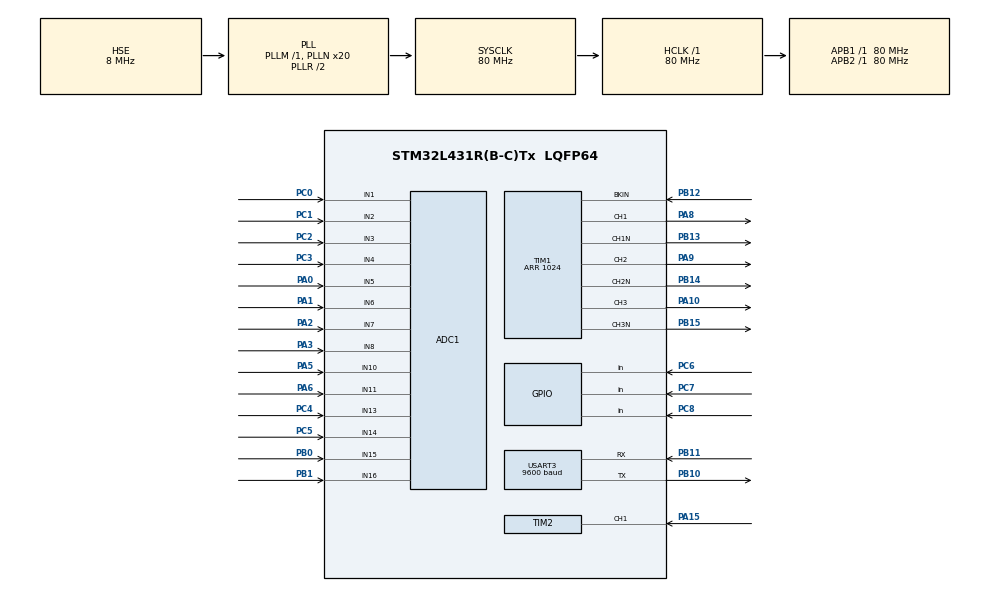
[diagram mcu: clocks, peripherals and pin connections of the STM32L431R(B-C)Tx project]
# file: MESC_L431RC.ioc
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ADC1.AWD1HighThreshold=4048
ADC1.AWD1ITMode=ENABLE
ADC1.AWD1LowThreshold=48
ADC1.Channel-0\#ChannelRegularConversion=ADC_CHANNEL_5
ADC1.Channel-10\#ChannelRegularConversion=ADC_CHANNEL_13
ADC1.Channel-11\#ChannelRegularConversion=ADC_CHANNEL_14
ADC1.Channel-12\#ChannelRegularConversion=ADC_CHANNEL_15
ADC1.Channel-13\#ChannelRegularConversion=ADC_CHANNEL_16
ADC1.Channel-5\#ChannelRegularConversion=ADC_CHANNEL_6
ADC1.Channel-6\#ChannelRegularConversion=ADC_CHANNEL_7
ADC1.Channel-7\#ChannelRegularConversion=ADC_CHANNEL_8
ADC1.Channel-8\#ChannelRegularConversion=ADC_CHANNEL_10
ADC1.Channel-9\#ChannelRegularConversion=ADC_CHANNEL_11
ADC1.DMAContinuousRequests=ENABLE
ADC1.EnableAnalogWatchDog1=true
ADC1.EnableAnalogWatchDog2=false
ADC1.EnableAnalogWatchDog3=false
ADC1.EnableInjectedConversion=ENABLE
ADC1.ExternalTrigConv=ADC_EXTERNALTRIG_T1_TRGO
ADC1.ExternalTrigConvEdge=ADC_EXTERNALTRIGCONVEDGE_RISING
ADC1.ExternalTrigInjecConv=ADC_EXTERNALTRIGINJEC_T1_TRGO
ADC1.ExternalTrigInjecConvEdge=ADC_EXTERNALTRIGINJECCONV_EDGE_RISING
ADC1.InjMonitoredBy-1\#ChannelInjectedConversion=__NULL
ADC1.InjMonitoredBy-2\#ChannelInjectedConversion=__NULL
ADC1.InjMonitoredBy-3\#ChannelInjectedConversion=__NULL
ADC1.InjMonitoredBy-4\#ChannelInjectedConversion=__NULL
ADC1.InjNumberOfConversion=4
ADC1.InjectedChannel-1\#ChannelInjectedConversion=ADC_CHANNEL_1
ADC1.InjectedChannel-2\#ChannelInjectedConversion=ADC_CHANNEL_2
ADC1.InjectedChannel-3\#ChannelInjectedConversion=ADC_CHANNEL_3
ADC1.InjectedChannel-4\#ChannelInjectedConversion=ADC_CHANNEL_4
ADC1.InjectedOffsetNumber-1\#ChannelInjectedConversion=ADC_OFFSET_NONE
ADC1.InjectedOffsetNumber-2\#ChannelInjectedConversion=ADC_OFFSET_NONE
ADC1.InjectedOffsetNumber-3\#ChannelInjectedConversion=ADC_OFFSET_NONE
ADC1.InjectedOffsetNumber-4\#ChannelInjectedConversion=ADC_OFFSET_NONE
ADC1.InjectedRank-1\#ChannelInjectedConversion=1
ADC1.InjectedRank-2\#ChannelInjectedConversion=2
ADC1.InjectedRank-3\#ChannelInjectedConversion=3
ADC1.InjectedRank-4\#ChannelInjectedConversion=4
ADC1.InjectedSamplingTime-1\#ChannelInjectedConversion=ADC_SAMPLETIME_6CYCLES_5
ADC1.InjectedSamplingTime-2\#ChannelInjectedConversion=ADC_SAMPLETIME_6CYCLES_5
ADC1.InjectedSamplingTime-3\#ChannelInjectedConversion=ADC_SAMPLETIME_6CYCLES_5
ADC1.InjectedSamplingTime-4\#ChannelInjectedConversion=ADC_SAMPLETIME_6CYCLES_5
ADC1.NbrOfConversion=10
ADC1.NbrOfConversionFlag=1
ADC1.OffsetNumber-0\#ChannelRegularConversion=ADC_OFFSET_NONE
ADC1.OffsetNumber-10\#ChannelRegularConversion=ADC_OFFSET_NONE
ADC1.OffsetNumber-11\#ChannelRegularConversion=ADC_OFFSET_NONE
ADC1.OffsetNumber-12\#ChannelRegularConversion=ADC_OFFSET_NONE
ADC1.OffsetNumber-13\#ChannelRegularConversion=ADC_OFFSET_NONE
ADC1.OffsetNumber-5\#ChannelRegularConversion=ADC_OFFSET_NONE
ADC1.OffsetNumber-6\#ChannelRegularConversion=ADC_OFFSET_NONE
ADC1.OffsetNumber-7\#ChannelRegularConversion=ADC_OFFSET_NONE
ADC1.OffsetNumber-8\#ChannelRegularConversion=ADC_OFFSET_NONE
ADC1.OffsetNumber-9\#ChannelRegularConversion=ADC_OFFSET_NONE
ADC1.Rank-0\#ChannelRegularConversion=1
ADC1.Rank-10\#ChannelRegularConversion=7
ADC1.Rank-11\#ChannelRegularConversion=8
ADC1.Rank-12\#ChannelRegularConversion=9
ADC1.Rank-13\#ChannelRegularConversion=10
ADC1.Rank-5\#ChannelRegularConversion=2
ADC1.Rank-6\#ChannelRegularConversion=3
ADC1.Rank-7\#ChannelRegularConversion=4
ADC1.Rank-8\#ChannelRegularConversion=5
ADC1.Rank-9\#ChannelRegularConversion=6
ADC1.SamplingTime-0\#ChannelRegularConversion=ADC_SAMPLETIME_6CYCLES_5
ADC1.SamplingTime-10\#ChannelRegularConversion=ADC_SAMPLETIME_6CYCLES_5
ADC1.SamplingTime-11\#ChannelRegularConversion=ADC_SAMPLETIME_6CYCLES_5
ADC1.SamplingTime-12\#ChannelRegularConversion=ADC_SAMPLETIME_6CYCLES_5
ADC1.SamplingTime-13\#ChannelRegularConversion=ADC_SAMPLETIME_6CYCLES_5
ADC1.SamplingTime-5\#ChannelRegularConversion=ADC_SAMPLETIME_6CYCLES_5
ADC1.SamplingTime-6\#ChannelRegularConversion=ADC_SAMPLETIME_6CYCLES_5
ADC1.SamplingTime-7\#ChannelRegularConversion=ADC_SAMPLETIME_6CYCLES_5
ADC1.SamplingTime-8\#ChannelRegularConversion=ADC_SAMPLETIME_6CYCLES_5
ADC1.SamplingTime-9\#ChannelRegularConversion=ADC_SAMPLETIME_6CYCLES_5
ADC1.WatchdogMode=ADC_ANALOGWATCHDOG_ALL_INJEC
ADC1.master=1
Dma.ADC1.0.Direction=DMA_PERIPH_TO_MEMORY
Dma.ADC1.0.Instance=DMA1_Channel1
Dma.ADC1.0.MemDataAlignment=DMA_MDATAALIGN_WORD
Dma.ADC1.0.MemInc=DMA_MINC_ENABLE
Dma.ADC1.0.Mode=DMA_CIRCULAR
Dma.ADC1.0.PeriphDataAlignment=DMA_PDATAALIGN_WORD
Dma.ADC1.0.PeriphInc=DMA_PINC_DISABLE
Dma.ADC1.0.Priority=DMA_PRIORITY_LOW
Dma.Request0=ADC1
Dma.Request1=USART3_TX
Dma.USART3_TX.1.Direction=DMA_MEMORY_TO_PERIPH
Dma.USART3_TX.1.Instance=DMA1_Channel2
Dma.USART3_TX.1.MemDataAlignment=DMA_MDATAALIGN_BYTE
Dma.USART3_TX.1.MemInc=DMA_MINC_ENABLE
Dma.USART3_TX.1.Mode=DMA_NORMAL
Dma.USART3_TX.1.PeriphDataAlignment=DMA_PDATAALIGN_BYTE
Dma.USART3_TX.1.PeriphInc=DMA_PINC_DISABLE
Dma.USART3_TX.1.Priority=DMA_PRIORITY_LOW
Mcu.Family=STM32L4
Mcu.Name=STM32L431R(B-C)Tx
Mcu.Package=LQFP64
NVIC.ADC1_IRQn=true\:2\:0\:true\:false\:true\:true\:false\:true
NVIC.DMA1_Channel2_IRQn=true\:4\:0\:true\:false\:true\:true\:true\:true
NVIC.PriorityGroup=NVIC_PRIORITYGROUP_4
NVIC.TIM1_UP_TIM16_IRQn=true\:1\:0\:true\:false\:true\:true\:false\:true
NVIC.TIM2_IRQn=true\:3\:0\:true\:false\:true\:true\:false\:true
NVIC.USART3_IRQn=true\:4\:0\:true\:false\:true\:true\:true\:true
PA0.Signal=ADCx_IN5
PA1.Signal=ADCx_IN6
PA10.Signal=S_TIM1_CH3
PA15\ (JTDI).Signal=S_TIM2_CH1
PA2.Signal=ADCx_IN7
PA3.Signal=ADCx_IN8
PA5.Signal=ADCx_IN10
PA6.Signal=ADCx_IN11
PA8.Signal=S_TIM1_CH1
PA9.Signal=S_TIM1_CH2
PB0.Signal=ADCx_IN15
PB1.Signal=ADCx_IN16
PB10.Mode=Asynchronous
PB10.Signal=USART3_TX
PB11.Mode=Asynchronous
PB11.Signal=USART3_RX
PB12.GPIO_PuPd=GPIO_PULLUP
PB12.Mode=Activate-Break-Input
PB12.Signal=TIM1_BKIN
PB13.Mode=PWM Generation1 CH1 CH1N
PB13.Signal=TIM1_CH1N
PB14.Mode=PWM Generation2 CH2 CH2N
PB14.Signal=TIM1_CH2N
PB15.Mode=PWM Generation3 CH3 CH3N
PB15.Signal=TIM1_CH3N
PC0.Signal=ADCx_IN1
PC1.Signal=ADCx_IN2
PC2.Signal=ADCx_IN3
PC3.Signal=ADCx_IN4
PC4.Signal=ADCx_IN13
PC5.Signal=ADCx_IN14
PC6.GPIO_PuPd=GPIO_PULLUP
PC6.Signal=GPIO_Input
PC7.GPIO_PuPd=GPIO_PULLUP
PC7.Signal=GPIO_Input
PC8.GPIO_PuPd=GPIO_PULLUP
PC8.Signal=GPIO_Input
PH0-OSC_IN\ (PH0).Mode=HSE-External-Oscillator
PH0-OSC_IN\ (PH0).Signal=RCC_OSC_IN
PH1-OSC_OUT\ (PH1).Mode=HSE-External-Oscillator
PH1-OSC_OUT\ (PH1).Signal=RCC_OSC_OUT
ProjectManager.HeapSize=0x200
ProjectManager.StackSize=0x400
ProjectManager.TargetToolchain=STM32CubeIDE
RCC.ADCFreq_Value=64000000
RCC.AHBFreq_Value=80000000
RCC.APB1Freq_Value=80000000
RCC.APB1TimFreq_Value=80000000
RCC.APB2Freq_Value=80000000
RCC.APB2TimFreq_Value=80000000
RCC.CortexFreq_Value=80000000
RCC.HCLKFreq_Value=80000000
RCC.HSE_VALUE=8000000
RCC.HSI48_VALUE=48000000
RCC.HSI_VALUE=16000000
RCC.LSE_VALUE=32768
RCC.MSI_VALUE=4000000
RCC.PLLN=20
RCC.PLLSAI1N=16
RCC.PLLSourceVirtual=RCC_PLLSOURCE_HSE
RCC.SYSCLKFreq_VALUE=80000000
RCC.SYSCLKSource=RCC_SYSCLKSOURCE_PLLCLK
RCC.VCOOutputFreq_Value=160000000
SH.ADCx_IN1.0=ADC1_IN1,IN1-Single-Ended
SH.ADCx_IN10.0=ADC1_IN10,IN10-Single-Ended
SH.ADCx_IN11.0=ADC1_IN11,IN11-Single-Ended
SH.ADCx_IN13.0=ADC1_IN13,IN13-Single-Ended
SH.ADCx_IN14.0=ADC1_IN14,IN14-Single-Ended
SH.ADCx_IN15.0=ADC1_IN15,IN15-Single-Ended
SH.ADCx_IN16.0=ADC1_IN16,IN16-Single-Ended
SH.ADCx_IN2.0=ADC1_IN2,IN2-Single-Ended
SH.ADCx_IN3.0=ADC1_IN3,IN3-Single-Ended
SH.ADCx_IN4.0=ADC1_IN4,IN4-Single-Ended
SH.ADCx_IN5.0=ADC1_IN5,IN5-Single-Ended
SH.ADCx_IN6.0=ADC1_IN6,IN6-Single-Ended
SH.ADCx_IN7.0=ADC1_IN7,IN7-Single-Ended
SH.ADCx_IN8.0=ADC1_IN8,IN8-Single-Ended
SH.S_TIM1_CH1.0=TIM1_CH1,PWM Generation1 CH1 CH1N
SH.S_TIM1_CH2.0=TIM1_CH2,PWM Generation2 CH2 CH2N
SH.S_TIM1_CH3.0=TIM1_CH3,PWM Generation3 CH3 CH3N
SH.S_TIM2_CH1.0=TIM2_CH1,Input_Capture1_from_TI1
SH.S_TIM2_CH1.1=TIM2_CH1,TriggerSource_TI1FP1
TIM1.BreakPolarity=TIM_BREAKPOLARITY_LOW
TIM1.Channel-PWM\ Generation1\ CH1\ CH1N=TIM_CHANNEL_1
TIM1.Channel-PWM\ Generation2\ CH2\ CH2N=TIM_CHANNEL_2
TIM1.Channel-PWM\ Generation3\ CH3\ CH3N=TIM_CHANNEL_3
TIM1.Channel-PWM\ Generation4\ No\ Output=TIM_CHANNEL_4
TIM1.CounterMode=TIM_COUNTERMODE_CENTERALIGNED1
TIM1.DeadTime=50
TIM1.Period=1024
TIM1.Pulse-PWM\ Generation1\ CH1\ CH1N=512
TIM1.Pulse-PWM\ Generation2\ CH2\ CH2N=512
TIM1.Pulse-PWM\ Generation3\ CH3\ CH3N=512
TIM1.Pulse-PWM\ Generation4\ No\ Output=512
TIM1.TIM_MasterOutputTrigger=TIM_TRGO_OC4REF
TIM2.Channel-Input_Capture1_from_TI1=TIM_CHANNEL_1
TIM2.Channel-Input_Capture2_from_TI1_63=TIM_CHANNEL_2
TIM2.ICPolarity_CH2=TIM_INPUTCHANNELPOLARITY_FALLING
TIM2.Period=50000
TIM2.Prescaler=79
USART3.BaudRate=9600
USART3.VirtualMode-Asynchronous=VM_ASYNC
VP_TIM1_VS_no_output4.Mode=PWM Generation4 No Output
VP_TIM2_VS_ControllerModeReset.Mode=Reset Mode
VP_TIM2_VS_indirect_ch1.Mode=Input_Capture2_from_TI1_63
VP_TIM7_VS_ClockSourceINT.Mode=Enable_Timer
board=custom

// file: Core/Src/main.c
/* USER CODE BEGIN Header */
/**
  ******************************************************************************
  * @file           : main.c
  * @brief          : Main program body
  ******************************************************************************
  * @attention
  *
  * Copyright (c) 2022 STMicroelectronics.
  * All rights reserved.
  *
  * This software is licensed under terms that can be found in the LICENSE file
  * in the root directory of this software component.
  * If no LICENSE file comes with this software, it is provided AS-IS.
  *
  ******************************************************************************
  */
/* USER CODE END Header */
#include "main.h"

/* USER CODE BEGIN Includes */
#include "MESCbat.h"
#include "MESCflash.h"
#include "MESCprofile.h"
#include "MESCmotor.h"
#include "MESCspeed.h"
#include "MESCtemp.h"
#include "MESCuart.h"
#include "MESCui.h"

#include "MESCmotor_state.h"
#include "MESC_Comms.h"
#include "MPU6050.h"
#include "Simple_coms.h"
/* USER CODE END Includes */

ADC_HandleTypeDef hadc1;
DMA_HandleTypeDef hdma_adc1;

TIM_HandleTypeDef htim1;
TIM_HandleTypeDef htim2;
TIM_HandleTypeDef htim7;

UART_HandleTypeDef huart3;
DMA_HandleTypeDef hdma_usart3_tx;

/* USER CODE BEGIN PV */
COMS_data_t com1;
/* USER CODE END PV */

void SystemClock_Config(void);
static void MX_GPIO_Init(void);
static void MX_DMA_Init(void);
static void MX_ADC1_Init(void);
static void MX_TIM1_Init(void);
static void MX_USART3_UART_Init(void);
static void MX_TIM2_Init(void);
static void MX_TIM7_Init(void);

int main(void)
{

  /* MCU Configuration--------------------------------------------------------*/

  /* Reset of all peripherals, Initializes the Flash interface and the Systick. */
  HAL_Init();

  /* Configure the system clock */
  SystemClock_Config();

  /* Initialize all configured peripherals */
  MX_GPIO_Init();
  MX_DMA_Init();
  MX_ADC1_Init();
  MX_TIM1_Init();
  MX_USART3_UART_Init();
  MX_TIM2_Init();
  MX_TIM7_Init();
  /* USER CODE BEGIN 2 */

  HAL_UART_Init(&huart3);
  SimpleComsInit(&huart3, &com1);
  HAL_TIM_Base_Start(&htim7);
  //Set motor timer
  mtr[0].mtimer = &htim1;
  mtr[0].stimer = &htim2;
  motor_init(NULL);
  MESCInit(&mtr[0]);

  /* USER CODE END 2 */

  /* Infinite loop */
  /* USER CODE BEGIN WHILE */
  while (1)
  {
	  SimpleComsProcess(&com1);

    /* USER CODE END WHILE */

  }
}

void SystemClock_Config(void)
{
  RCC_OscInitTypeDef RCC_OscInitStruct = {0};
  RCC_ClkInitTypeDef RCC_ClkInitStruct = {0};

  /** Configure the main internal regulator output voltage
  */
  if (HAL_PWREx_ControlVoltageScaling(PWR_REGULATOR_VOLTAGE_SCALE1) != HAL_OK)
  {
    Error_Handler();
  }

  /** Initializes the RCC Oscillators according to the specified parameters
  * in the RCC_OscInitTypeDef structure.
  */
  RCC_OscInitStruct.OscillatorType = RCC_OSCILLATORTYPE_HSE;
  RCC_OscInitStruct.HSEState = RCC_HSE_ON;
  RCC_OscInitStruct.PLL.PLLState = RCC_PLL_ON;
  RCC_OscInitStruct.PLL.PLLSource = RCC_PLLSOURCE_HSE;
  RCC_OscInitStruct.PLL.PLLM = 1;
  RCC_OscInitStruct.PLL.PLLN = 20;
  RCC_OscInitStruct.PLL.PLLP = RCC_PLLP_DIV7;
  RCC_OscInitStruct.PLL.PLLQ = RCC_PLLQ_DIV2;
  RCC_OscInitStruct.PLL.PLLR = RCC_PLLR_DIV2;
  if (HAL_RCC_OscConfig(&RCC_OscInitStruct) != HAL_OK)
  {
    Error_Handler();
  }

  /** Initializes the CPU, AHB and APB buses clocks
  */
  RCC_ClkInitStruct.ClockType = RCC_CLOCKTYPE_HCLK|RCC_CLOCKTYPE_SYSCLK
                              |RCC_CLOCKTYPE_PCLK1|RCC_CLOCKTYPE_PCLK2;
  RCC_ClkInitStruct.SYSCLKSource = RCC_SYSCLKSOURCE_PLLCLK;
  RCC_ClkInitStruct.AHBCLKDivider = RCC_SYSCLK_DIV1;
  RCC_ClkInitStruct.APB1CLKDivider = RCC_HCLK_DIV1;
  RCC_ClkInitStruct.APB2CLKDivider = RCC_HCLK_DIV1;

  if (HAL_RCC_ClockConfig(&RCC_ClkInitStruct, FLASH_LATENCY_4) != HAL_OK)
  {
    Error_Handler();
  }
}

static void MX_ADC1_Init(void)
{

  ADC_AnalogWDGConfTypeDef AnalogWDGConfig = {0};
  ADC_ChannelConfTypeDef sConfig = {0};
  ADC_InjectionConfTypeDef sConfigInjected = {0};

  /** Common config
  */
  hadc1.Instance = ADC1;
  hadc1.Init.ClockPrescaler = ADC_CLOCK_ASYNC_DIV1;
  hadc1.Init.Resolution = ADC_RESOLUTION_12B;
  hadc1.Init.DataAlign = ADC_DATAALIGN_RIGHT;
  hadc1.Init.ScanConvMode = ADC_SCAN_ENABLE;
  hadc1.Init.EOCSelection = ADC_EOC_SINGLE_CONV;
  hadc1.Init.LowPowerAutoWait = DISABLE;
  hadc1.Init.ContinuousConvMode = DISABLE;
  hadc1.Init.NbrOfConversion = 10;
  hadc1.Init.DiscontinuousConvMode = DISABLE;
  hadc1.Init.ExternalTrigConv = ADC_EXTERNALTRIG_T1_TRGO;
  hadc1.Init.ExternalTrigConvEdge = ADC_EXTERNALTRIGCONVEDGE_RISING;
  hadc1.Init.DMAContinuousRequests = ENABLE;
  hadc1.Init.Overrun = ADC_OVR_DATA_PRESERVED;
  hadc1.Init.OversamplingMode = DISABLE;
  if (HAL_ADC_Init(&hadc1) != HAL_OK)
  {
    Error_Handler();
  }

  /** Disable Injected Queue
  */
  HAL_ADCEx_DisableInjectedQueue(&hadc1);

  /** Configure Analog WatchDog 1
  */
  AnalogWDGConfig.WatchdogNumber = ADC_ANALOGWATCHDOG_1;
  AnalogWDGConfig.WatchdogMode = ADC_ANALOGWATCHDOG_ALL_INJEC;
  AnalogWDGConfig.ITMode = ENABLE;
  AnalogWDGConfig.HighThreshold = 4048;
  AnalogWDGConfig.LowThreshold = 48;
  if (HAL_ADC_AnalogWDGConfig(&hadc1, &AnalogWDGConfig) != HAL_OK)
  {
    Error_Handler();
  }

  /** Configure Regular Channel
  */
  sConfig.Channel = ADC_CHANNEL_5;
  sConfig.Rank = ADC_REGULAR_RANK_1;
  sConfig.SamplingTime = ADC_SAMPLETIME_6CYCLES_5;
  sConfig.SingleDiff = ADC_SINGLE_ENDED;
  sConfig.OffsetNumber = ADC_OFFSET_NONE;
  sConfig.Offset = 0;
  if (HAL_ADC_ConfigChannel(&hadc1, &sConfig) != HAL_OK)
  {
    Error_Handler();
  }

  /** Configure Regular Channel
  */
  sConfig.Channel = ADC_CHANNEL_6;
  sConfig.Rank = ADC_REGULAR_RANK_2;
  if (HAL_ADC_ConfigChannel(&hadc1, &sConfig) != HAL_OK)
  {
    Error_Handler();
  }

  /** Configure Regular Channel
  */
  sConfig.Channel = ADC_CHANNEL_7;
  sConfig.Rank = ADC_REGULAR_RANK_3;
  if (HAL_ADC_ConfigChannel(&hadc1, &sConfig) != HAL_OK)
  {
    Error_Handler();
  }

  /** Configure Regular Channel
  */
  sConfig.Channel = ADC_CHANNEL_8;
  sConfig.Rank = ADC_REGULAR_RANK_4;
  if (HAL_ADC_ConfigChannel(&hadc1, &sConfig) != HAL_OK)
  {
    Error_Handler();
  }

  /** Configure Regular Channel
  */
  sConfig.Channel = ADC_CHANNEL_10;
  sConfig.Rank = ADC_REGULAR_RANK_5;
  if (HAL_ADC_ConfigChannel(&hadc1, &sConfig) != HAL_OK)
  {
    Error_Handler();
  }

  /** Configure Regular Channel
  */
  sConfig.Channel = ADC_CHANNEL_11;
  sConfig.Rank = ADC_REGULAR_RANK_6;
  if (HAL_ADC_ConfigChannel(&hadc1, &sConfig) != HAL_OK)
  {
    Error_Handler();
  }

  /** Configure Regular Channel
  */
  sConfig.Channel = ADC_CHANNEL_13;
  sConfig.Rank = ADC_REGULAR_RANK_7;
  if (HAL_ADC_ConfigChannel(&hadc1, &sConfig) != HAL_OK)
  {
    Error_Handler();
  }

  /** Configure Regular Channel
  */
  sConfig.Channel = ADC_CHANNEL_14;
  sConfig.Rank = ADC_REGULAR_RANK_8;
  if (HAL_ADC_ConfigChannel(&hadc1, &sConfig) != HAL_OK)
  {
    Error_Handler();
  }

  /** Configure Regular Channel
  */
  sConfig.Channel = ADC_CHANNEL_15;
  sConfig.Rank = ADC_REGULAR_RANK_9;
  if (HAL_ADC_ConfigChannel(&hadc1, &sConfig) != HAL_OK)
  {
    Error_Handler();
  }

  /** Configure Regular Channel
  */
  sConfig.Channel = ADC_CHANNEL_16;
  sConfig.Rank = ADC_REGULAR_RANK_10;
  if (HAL_ADC_ConfigChannel(&hadc1, &sConfig) != HAL_OK)
  {
    Error_Handler();
  }

  /** Configure Injected Channel
  */
  sConfigInjected.InjectedChannel = ADC_CHANNEL_1;
  sConfigInjected.InjectedRank = ADC_INJECTED_RANK_1;
  sConfigInjected.InjectedSamplingTime = ADC_SAMPLETIME_6CYCLES_5;
  sConfigInjected.InjectedSingleDiff = ADC_SINGLE_ENDED;
  sConfigInjected.InjectedOffsetNumber = ADC_OFFSET_NONE;
  sConfigInjected.InjectedOffset = 0;
  sConfigInjected.InjectedNbrOfConversion = 4;
  sConfigInjected.InjectedDiscontinuousConvMode = DISABLE;
  sConfigInjected.AutoInjectedConv = DISABLE;
  sConfigInjected.QueueInjectedContext = DISABLE;
  sConfigInjected.ExternalTrigInjecConv = ADC_EXTERNALTRIGINJEC_T1_TRGO;
  sConfigInjected.ExternalTrigInjecConvEdge = ADC_EXTERNALTRIGINJECCONV_EDGE_RISING;
  sConfigInjected.InjecOversamplingMode = DISABLE;
  if (HAL_ADCEx_InjectedConfigChannel(&hadc1, &sConfigInjected) != HAL_OK)
  {
    Error_Handler();
  }

  /** Configure Injected Channel
  */
  sConfigInjected.InjectedChannel = ADC_CHANNEL_2;
  sConfigInjected.InjectedRank = ADC_INJECTED_RANK_2;
  if (HAL_ADCEx_InjectedConfigChannel(&hadc1, &sConfigInjected) != HAL_OK)
  {
    Error_Handler();
  }

  /** Configure Injected Channel
  */
  sConfigInjected.InjectedChannel = ADC_CHANNEL_3;
  sConfigInjected.InjectedRank = ADC_INJECTED_RANK_3;
  if (HAL_ADCEx_InjectedConfigChannel(&hadc1, &sConfigInjected) != HAL_OK)
  {
    Error_Handler();
  }

  /** Configure Injected Channel
  */
  sConfigInjected.InjectedChannel = ADC_CHANNEL_4;
  sConfigInjected.InjectedRank = ADC_INJECTED_RANK_4;
  if (HAL_ADCEx_InjectedConfigChannel(&hadc1, &sConfigInjected) != HAL_OK)
  {
    Error_Handler();
  }

}

static void MX_TIM1_Init(void)
{

  TIM_MasterConfigTypeDef sMasterConfig = {0};
  TIMEx_BreakInputConfigTypeDef sBreakInputConfig = {0};
  TIM_OC_InitTypeDef sConfigOC = {0};
  TIM_BreakDeadTimeConfigTypeDef sBreakDeadTimeConfig = {0};

  htim1.Instance = TIM1;
  htim1.Init.Prescaler = 0;
  htim1.Init.CounterMode = TIM_COUNTERMODE_CENTERALIGNED1;
  htim1.Init.Period = 1024;
  htim1.Init.ClockDivision = TIM_CLOCKDIVISION_DIV1;
  htim1.Init.RepetitionCounter = 0;
  htim1.Init.AutoReloadPreload = TIM_AUTORELOAD_PRELOAD_DISABLE;
  if (HAL_TIM_PWM_Init(&htim1) != HAL_OK)
  {
    Error_Handler();
  }
  sMasterConfig.MasterOutputTrigger = TIM_TRGO_OC4REF;
  sMasterConfig.MasterOutputTrigger2 = TIM_TRGO2_RESET;
  sMasterConfig.MasterSlaveMode = TIM_MASTERSLAVEMODE_DISABLE;
  if (HAL_TIMEx_MasterConfigSynchronization(&htim1, &sMasterConfig) != HAL_OK)
  {
    Error_Handler();
  }
  sBreakInputConfig.Source = TIM_BREAKINPUTSOURCE_BKIN;
  sBreakInputConfig.Enable = TIM_BREAKINPUTSOURCE_ENABLE;
  sBreakInputConfig.Polarity = TIM_BREAKINPUTSOURCE_POLARITY_HIGH;
  if (HAL_TIMEx_ConfigBreakInput(&htim1, TIM_BREAKINPUT_BRK, &sBreakInputConfig) != HAL_OK)
  {
    Error_Handler();
  }
  sConfigOC.OCMode = TIM_OCMODE_PWM1;
  sConfigOC.Pulse = 512;
  sConfigOC.OCPolarity = TIM_OCPOLARITY_HIGH;
  sConfigOC.OCNPolarity = TIM_OCNPOLARITY_HIGH;
  sConfigOC.OCFastMode = TIM_OCFAST_DISABLE;
  sConfigOC.OCIdleState = TIM_OCIDLESTATE_RESET;
  sConfigOC.OCNIdleState = TIM_OCNIDLESTATE_RESET;
  if (HAL_TIM_PWM_ConfigChannel(&htim1, &sConfigOC, TIM_CHANNEL_1) != HAL_OK)
  {
    Error_Handler();
  }
  if (HAL_TIM_PWM_ConfigChannel(&htim1, &sConfigOC, TIM_CHANNEL_2) != HAL_OK)
  {
    Error_Handler();
  }
  if (HAL_TIM_PWM_ConfigChannel(&htim1, &sConfigOC, TIM_CHANNEL_3) != HAL_OK)
  {
    Error_Handler();
  }
  if (HAL_TIM_PWM_ConfigChannel(&htim1, &sConfigOC, TIM_CHANNEL_4) != HAL_OK)
  {
    Error_Handler();
  }
  sBreakDeadTimeConfig.OffStateRunMode = TIM_OSSR_DISABLE;
  sBreakDeadTimeConfig.OffStateIDLEMode = TIM_OSSI_DISABLE;
  sBreakDeadTimeConfig.LockLevel = TIM_LOCKLEVEL_OFF;
  sBreakDeadTimeConfig.DeadTime = 50;
  sBreakDeadTimeConfig.BreakState = TIM_BREAK_ENABLE;
  sBreakDeadTimeConfig.BreakPolarity = TIM_BREAKPOLARITY_LOW;
  sBreakDeadTimeConfig.BreakFilter = 0;
  sBreakDeadTimeConfig.Break2State = TIM_BREAK2_DISABLE;
  sBreakDeadTimeConfig.Break2Polarity = TIM_BREAK2POLARITY_HIGH;
  sBreakDeadTimeConfig.Break2Filter = 0;
  sBreakDeadTimeConfig.AutomaticOutput = TIM_AUTOMATICOUTPUT_DISABLE;
  if (HAL_TIMEx_ConfigBreakDeadTime(&htim1, &sBreakDeadTimeConfig) != HAL_OK)
  {
    Error_Handler();
  }
  HAL_TIM_MspPostInit(&htim1);

}

static void MX_TIM2_Init(void)
{

  TIM_SlaveConfigTypeDef sSlaveConfig = {0};
  TIM_MasterConfigTypeDef sMasterConfig = {0};
  TIM_IC_InitTypeDef sConfigIC = {0};

  htim2.Instance = TIM2;
  htim2.Init.Prescaler = 79;
  htim2.Init.CounterMode = TIM_COUNTERMODE_UP;
  htim2.Init.Period = 50000;
  htim2.Init.ClockDivision = TIM_CLOCKDIVISION_DIV1;
  htim2.Init.AutoReloadPreload = TIM_AUTORELOAD_PRELOAD_DISABLE;
  if (HAL_TIM_Base_Init(&htim2) != HAL_OK)
  {
    Error_Handler();
  }
  if (HAL_TIM_IC_Init(&htim2) != HAL_OK)
  {
    Error_Handler();
  }
  sSlaveConfig.SlaveMode = TIM_SLAVEMODE_RESET;
  sSlaveConfig.InputTrigger = TIM_TS_TI1FP1;
  sSlaveConfig.TriggerPolarity = TIM_INPUTCHANNELPOLARITY_RISING;
  sSlaveConfig.TriggerFilter = 0;
  if (HAL_TIM_SlaveConfigSynchro(&htim2, &sSlaveConfig) != HAL_OK)
  {
    Error_Handler();
  }
  sMasterConfig.MasterOutputTrigger = TIM_TRGO_RESET;
  sMasterConfig.MasterSlaveMode = TIM_MASTERSLAVEMODE_DISABLE;
  if (HAL_TIMEx_MasterConfigSynchronization(&htim2, &sMasterConfig) != HAL_OK)
  {
    Error_Handler();
  }
  sConfigIC.ICPolarity = TIM_INPUTCHANNELPOLARITY_RISING;
  sConfigIC.ICSelection = TIM_ICSELECTION_DIRECTTI;
  sConfigIC.ICPrescaler = TIM_ICPSC_DIV1;
  sConfigIC.ICFilter = 0;
  if (HAL_TIM_IC_ConfigChannel(&htim2, &sConfigIC, TIM_CHANNEL_1) != HAL_OK)
  {
    Error_Handler();
  }
  sConfigIC.ICPolarity = TIM_INPUTCHANNELPOLARITY_FALLING;
  sConfigIC.ICSelection = TIM_ICSELECTION_INDIRECTTI;
  if (HAL_TIM_IC_ConfigChannel(&htim2, &sConfigIC, TIM_CHANNEL_2) != HAL_OK)
  {
    Error_Handler();
  }

}

static void MX_TIM7_Init(void)
{

  TIM_MasterConfigTypeDef sMasterConfig = {0};

  htim7.Instance = TIM7;
  htim7.Init.Prescaler = 0;
  htim7.Init.CounterMode = TIM_COUNTERMODE_UP;
  htim7.Init.Period = 65535;
  htim7.Init.AutoReloadPreload = TIM_AUTORELOAD_PRELOAD_DISABLE;
  if (HAL_TIM_Base_Init(&htim7) != HAL_OK)
  {
    Error_Handler();
  }
  sMasterConfig.MasterOutputTrigger = TIM_TRGO_RESET;
  sMasterConfig.MasterSlaveMode = TIM_MASTERSLAVEMODE_DISABLE;
  if (HAL_TIMEx_MasterConfigSynchronization(&htim7, &sMasterConfig) != HAL_OK)
  {
    Error_Handler();
  }

}

static void MX_USART3_UART_Init(void)
{

  huart3.Instance = USART3;
  huart3.Init.BaudRate = 9600;
  huart3.Init.WordLength = UART_WORDLENGTH_8B;
  huart3.Init.StopBits = UART_STOPBITS_1;
  huart3.Init.Parity = UART_PARITY_NONE;
  huart3.Init.Mode = UART_MODE_TX_RX;
  huart3.Init.HwFlowCtl = UART_HWCONTROL_NONE;
  huart3.Init.OverSampling = UART_OVERSAMPLING_16;
  huart3.Init.OneBitSampling = UART_ONE_BIT_SAMPLE_DISABLE;
  huart3.AdvancedInit.AdvFeatureInit = UART_ADVFEATURE_NO_INIT;
  if (HAL_UART_Init(&huart3) != HAL_OK)
  {
    Error_Handler();
  }

}

static void MX_DMA_Init(void)
{

  /* DMA controller clock enable */
  __HAL_RCC_DMA1_CLK_ENABLE();

  /* DMA interrupt init */
  /* DMA1_Channel2_IRQn interrupt configuration */
  HAL_NVIC_SetPriority(DMA1_Channel2_IRQn, 4, 0);
  HAL_NVIC_EnableIRQ(DMA1_Channel2_IRQn);

}

static void MX_GPIO_Init(void)
{
  GPIO_InitTypeDef GPIO_InitStruct = {0};

  /* GPIO Ports Clock Enable */
  __HAL_RCC_GPIOH_CLK_ENABLE();
  __HAL_RCC_GPIOC_CLK_ENABLE();
  __HAL_RCC_GPIOA_CLK_ENABLE();
  __HAL_RCC_GPIOB_CLK_ENABLE();

  /*Configure GPIO pins : PC6 PC7 PC8 */
  GPIO_InitStruct.Pin = GPIO_PIN_6|GPIO_PIN_7|GPIO_PIN_8;
  GPIO_InitStruct.Mode = GPIO_MODE_INPUT;
  GPIO_InitStruct.Pull = GPIO_PULLUP;
  HAL_GPIO_Init(GPIOC, &GPIO_InitStruct);

}

void Error_Handler(void)
{
  __disable_irq();
  while (1)
  {
  }
}
